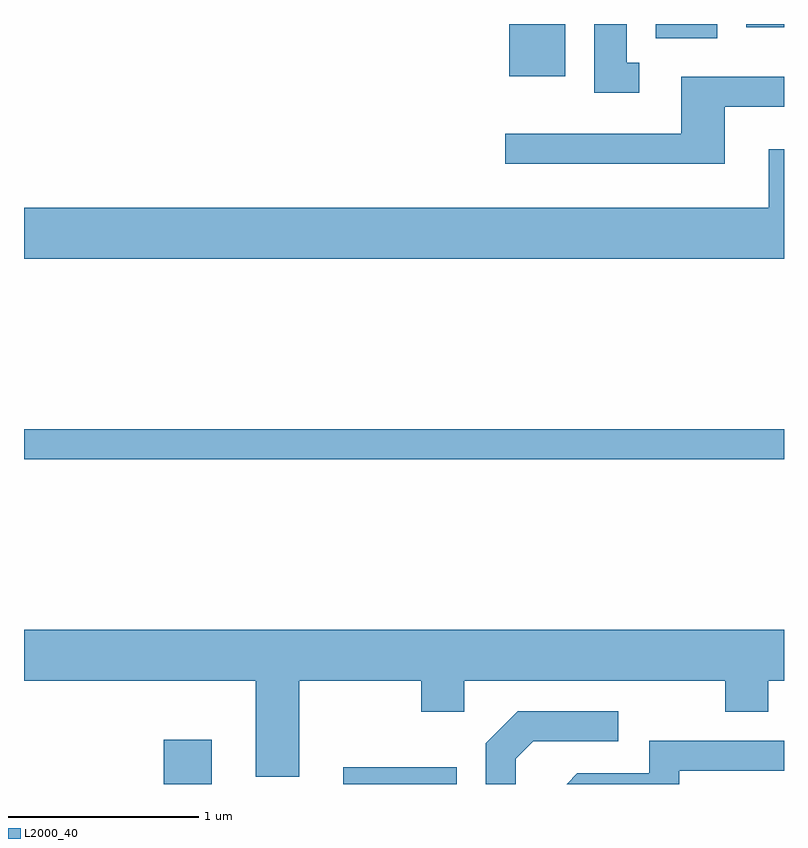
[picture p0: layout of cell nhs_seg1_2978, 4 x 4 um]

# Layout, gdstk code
import gdstk
lib = gdstk.Library(unit=1e-6, precision=1e-09)
def R(c, l, rs):  # rectangles x0, y0, x1, y1
    for r in rs: c.add(gdstk.rectangle(r[:2], r[2:], *l))
def P(c, l, *ps):  # polygons
    for p in ps: c.add(gdstk.Polygon(p, *l))
L2000_40 = (2000, 40)

nhs_seg1_2978 = lib.new_cell('nhs_seg1_2978')
R(nhs_seg1_2978, L2000_40, [(276.346,885.712,276.599,885.944), (277.291,885.712,277.889,885.799), (275.611,887.421,279.611,887.579), (278.166,889.436,278.459,889.712), (278.936,889.636,279.259,889.712), (279.411,889.696,279.611,889.712)])
P(nhs_seg1_2978, L2000_40, [(278.848,889.509),(278.784,889.509),(278.784,889.712),(278.611,889.712),(278.611,889.351),(278.848,889.351)],
  [(279.299,889.276),(279.611,889.276),(279.611,889.434),(279.071,889.434),(279.071,889.134),(278.143,889.134),(278.143,888.976),(279.299,888.976)],
  [(279.611,889.054),(279.531,889.054),(279.531,888.744),(275.611,888.744),(275.611,888.476),(279.611,888.476)],
  [(277.059,886.256),(277.701,886.256),(277.701,886.091),(277.929,886.091),(277.929,886.256),(279.301,886.256),(279.301,886.091),(279.529,886.091),(279.529,886.256),(279.611,886.256),(279.611,886.524),(275.611,886.524),(275.611,886.256),(276.831,886.256),(276.831,885.751),(277.059,885.751)],
  [(278.199,885.844),(278.292,885.936),(278.738,885.936),(278.738,886.094),(278.209,886.094),(278.041,885.927),(278.041,885.712),(278.199,885.712)],
  [(279.059,885.781),(279.611,885.781),(279.611,885.939),(278.901,885.939),(278.901,885.769),(278.524,885.769),(278.467,885.712),(279.059,885.712)])

lib.write_gds('nhs_seg1_2978.gds')
